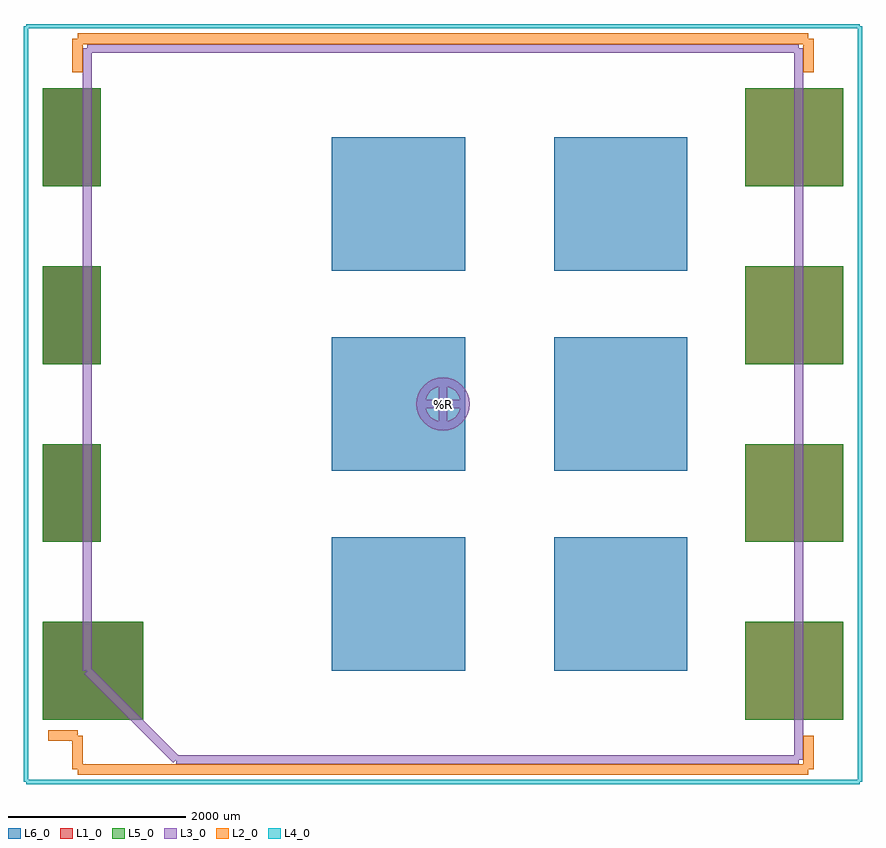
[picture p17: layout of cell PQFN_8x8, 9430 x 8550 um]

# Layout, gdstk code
import gdstk
lib = gdstk.Library(unit=1e-6, precision=1e-09)
def R(c, l, rs):  # rectangles x0, y0, x1, y1
    for r in rs: c.add(gdstk.rectangle(r[:2], r[2:], *l))
def A(c, l, x, y, w, h, nx, ny, dx, dy):  # array of equal rectangles
    R(c, l, [(x+i*dx, y+j*dy, x+i*dx+w, y+j*dy+h) for i in range(nx) for j in range(ny)])
L1_0 = (1, 0)
L2_0 = (2, 0)
L3_0 = (3, 0)
L4_0 = (4, 0)
L5_0 = (5, 0)
L6_0 = (6, 0)

pqfn_8x8 = lib.new_cell('PQFN_8x8')
A(pqfn_8x8, L1_0, 3400, -3550, 1100, 1100, 1, 4, 0, 2000)
A(pqfn_8x8, L1_0, -4500, -1550, 650, 1100, 1, 3, 0, 2000)
R(pqfn_8x8, L1_0, [(-4500,-3550,-3370,-2450)])
A(pqfn_8x8, L5_0, 3400, -3550, 1100, 1100, 1, 4, 0, 2000)
A(pqfn_8x8, L5_0, -4500, -1550, 650, 1100, 1, 3, 0, 2000)
R(pqfn_8x8, L5_0, [(-4500,-3550,-3370,-2450)])
A(pqfn_8x8, L6_0, -1250, -3000, 1500, 1500, 1, 3, 0, 2250)
A(pqfn_8x8, L6_0, 1250, -3000, 1500, 1500, 1, 3, 0, 2250)
A(pqfn_8x8, L6_0, -4500, -1550, 650, 1100, 1, 3, 0, 2000)
R(pqfn_8x8, L6_0, [(-4500,-3550,-3370,-2450)])
pqfn_8x8.add(gdstk.FlexPath([(4000,-4000),(4000,4000)], 100, ends="flush", simple_path=True, layer=3, datatype=0))  # L3_0
pqfn_8x8.add(gdstk.FlexPath([(4000,4000),(-4000,4000)], 100, ends="flush", simple_path=True, layer=3, datatype=0))  # L3_0
pqfn_8x8.add(gdstk.FlexPath([(-4000,4000),(-4000,-3000)], 100, ends="flush", simple_path=True, layer=3, datatype=0))  # L3_0
pqfn_8x8.add(gdstk.FlexPath([(-3000,-4000),(4000,-4000)], 100, ends="flush", simple_path=True, layer=3, datatype=0))  # L3_0
pqfn_8x8.add(gdstk.FlexPath([(-3000,-4000),(-4000,-3000)], 100, ends="flush", simple_path=True, layer=3, datatype=0))  # L3_0
pqfn_8x8.add(gdstk.FlexPath([(4110,-3730),(4110,-4110)], 120, ends="flush", simple_path=True, layer=2, datatype=0))  # L2_0
pqfn_8x8.add(gdstk.FlexPath([(4110,-4110),(-4110,-4110)], 120, ends="flush", simple_path=True, layer=2, datatype=0))  # L2_0
pqfn_8x8.add(gdstk.FlexPath([(4110,4110),(-4110,4110)], 120, ends="flush", simple_path=True, layer=2, datatype=0))  # L2_0
pqfn_8x8.add(gdstk.FlexPath([(4690,4250),(-4690,4250)], 50, ends="flush", simple_path=True, layer=4, datatype=0))  # L4_0
pqfn_8x8.add(gdstk.FlexPath([(-4690,4250),(-4690,-4250)], 50, ends="flush", simple_path=True, layer=4, datatype=0))  # L4_0
pqfn_8x8.add(gdstk.FlexPath([(-4690,-4250),(4690,-4250)], 50, ends="flush", simple_path=True, layer=4, datatype=0))  # L4_0
pqfn_8x8.add(gdstk.FlexPath([(4690,-4250),(4690,4250)], 50, ends="flush", simple_path=True, layer=4, datatype=0))  # L4_0
pqfn_8x8.add(gdstk.FlexPath([(0,250),(0,-250)], 100, ends="flush", simple_path=True, layer=3, datatype=0))  # L3_0
pqfn_8x8.add(gdstk.FlexPath([(250,0),(-250,0)], 100, ends="flush", simple_path=True, layer=3, datatype=0))  # L3_0
pqfn_8x8.add(gdstk.FlexPath([(250,0),(245,49),(231,96),(208,139),(177,177),(139,208),(96,231),(49,245),(0,250),(-49,245),(-96,231),(-139,208),(-177,177),(-208,139),(-231,96),(-245,49),(-250,0),(-245,-49),(-231,-96),(-208,-139),(-177,-177),(-139,-208),(-96,-231),(-49,-245),(0,-250),(49,-245),(96,-231),(139,-208),(177,-177),(208,-139),(231,-96),(245,-49),(250,0)], 100, ends="flush", simple_path=True, layer=3, datatype=0))  # L3_0
pqfn_8x8.add(gdstk.FlexPath([(4110,3730),(4110,4110)], 120, ends="flush", simple_path=True, layer=2, datatype=0))  # L2_0
pqfn_8x8.add(gdstk.FlexPath([(-4110,3730),(-4110,4110)], 120, ends="flush", simple_path=True, layer=2, datatype=0))  # L2_0
pqfn_8x8.add(gdstk.FlexPath([(-4110,-3730),(-4110,-4110)], 120, ends="flush", simple_path=True, layer=2, datatype=0))  # L2_0
pqfn_8x8.add(gdstk.FlexPath([(-4110,-3730),(-4440,-3730)], 120, ends="flush", simple_path=True, layer=2, datatype=0))  # L2_0
pqfn_8x8.add(gdstk.Label('REF**', (0,-4900), layer=2, texttype=0))
pqfn_8x8.add(gdstk.Label('PQFN_8x8', (0,5000), layer=3, texttype=0))
pqfn_8x8.add(gdstk.Label('%R', (0,0), layer=3, texttype=0))

lib.write_gds('PQFN_8x8.gds')
